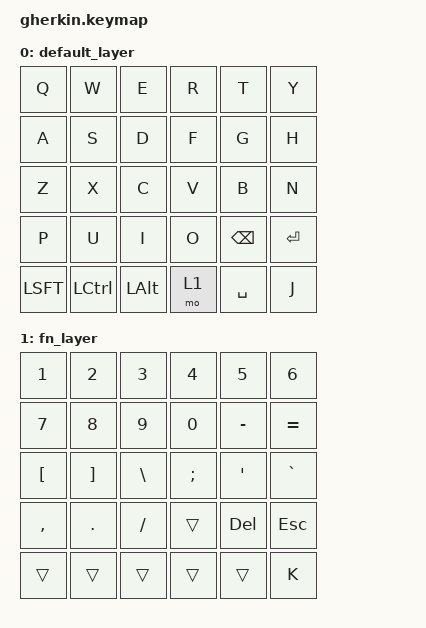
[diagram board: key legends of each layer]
#include <behaviors.dtsi>
#include <dt-bindings/zmk/keys.h>
#include <dt-bindings/zmk/bt.h>

/ {
    keymap {
        compatible = "zmk,keymap";

        default_layer {
            bindings = <
                &kp Q    &kp W    &kp E    &kp R    &kp T    &kp Y
                &kp A    &kp S    &kp D    &kp F    &kp G    &kp H
                &kp Z    &kp X    &kp C    &kp V    &kp B    &kp N
                &kp P    &kp U    &kp I    &kp O    &kp BSPC &kp ENTER
                &kp LSFT &kp LCTL &kp LALT &mo 1    &kp SPC  &kp J
            >;
        };

        fn_layer {
            bindings = <
                &kp N1      &kp N2      &kp N3      &kp N4      &kp N5      &kp N6
                &kp N7      &kp N8      &kp N9      &kp N0      &kp MINUS   &kp EQUAL
                &kp LBKT    &kp RBKT    &kp BSLH    &kp SEMI    &kp SQT     &kp GRAVE
                &kp COMMA   &kp DOT     &kp FSLH    &trans      &kp DEL     &kp ESC
                &trans      &trans      &trans      &trans      &trans      &kp K
            >;
        };
    };
};
